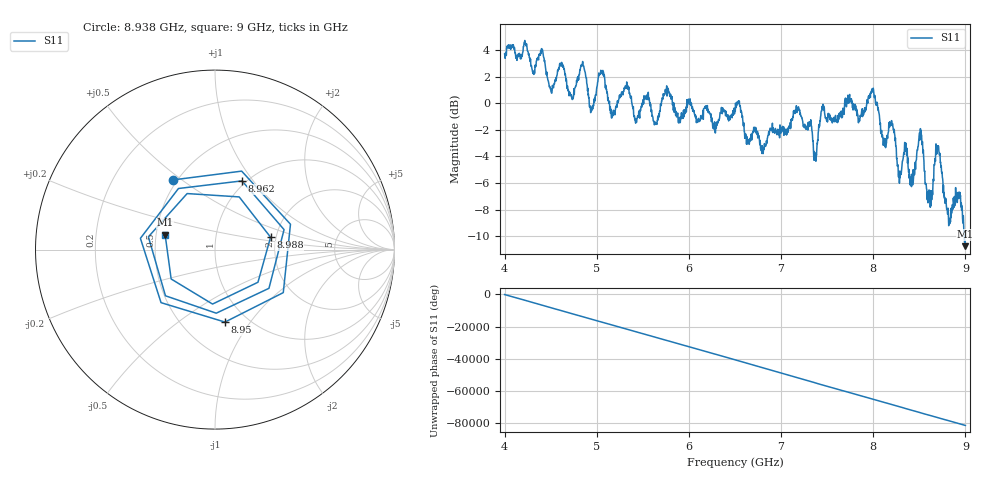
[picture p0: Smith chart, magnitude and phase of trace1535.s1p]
! Created with skrf 1.8.0 (http://scikit-rf.org).
# Hz S RI R 50.0
!freq ReS11 ImS11
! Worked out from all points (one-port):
!   1601 points, 4 GHz to 9 GHz, reference 50 ohm
!   lowest |S11| = -10.8 dB at 9 GHz (marker M1), VSWR 1.82, Z = 27.9 + j5.07 ohm
!   |S11| at or under -10 dB: 8.988174 GHz to end of sweep
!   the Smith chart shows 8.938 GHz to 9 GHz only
!   S11 on the Smith chart (normalised r, x): 8.938 GHz: 0.47, +0.46; 8.95 GHz: 0.79, -0.77; 8.962 GHz: 0.96, +0.88; 8.988 GHz: 1.87, +0.29; 9 GHz: 0.56, +0.10
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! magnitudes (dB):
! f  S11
! 4 GHz  3.7
! 4.506 GHz  0.8
! 4.625 GHz  2.8
! 4.725 GHz  0.6
! 4.85 GHz  2.9
! 4.944 GHz  -0.6
! 5.047 GHz  2.4
! 5.166 GHz  -1.1
! 5.25 GHz  0.6
! 5.875 GHz  -0.9
! 6.5 GHz  -0.5
! 6.803 GHz  -3.7
! 7.125 GHz  -1.2
! 7.375 GHz  -4.2
! 7.447 GHz  -0.2
! 7.75 GHz  0.1
! 7.997 GHz  1.0
! 8.281 GHz  -5.4
! 8.375 GHz  -4.1
! 8.512 GHz  -1.9
! 8.609 GHz  -7.2
! 8.7 GHz  -3.2
! 8.819 GHz  -9.2
! 8.938 GHz  -6.9
! 8.95 GHz  -7.8
! 8.962 GHz  -7.7
! 8.988 GHz  -10.0
! 9 GHz  -10.8
